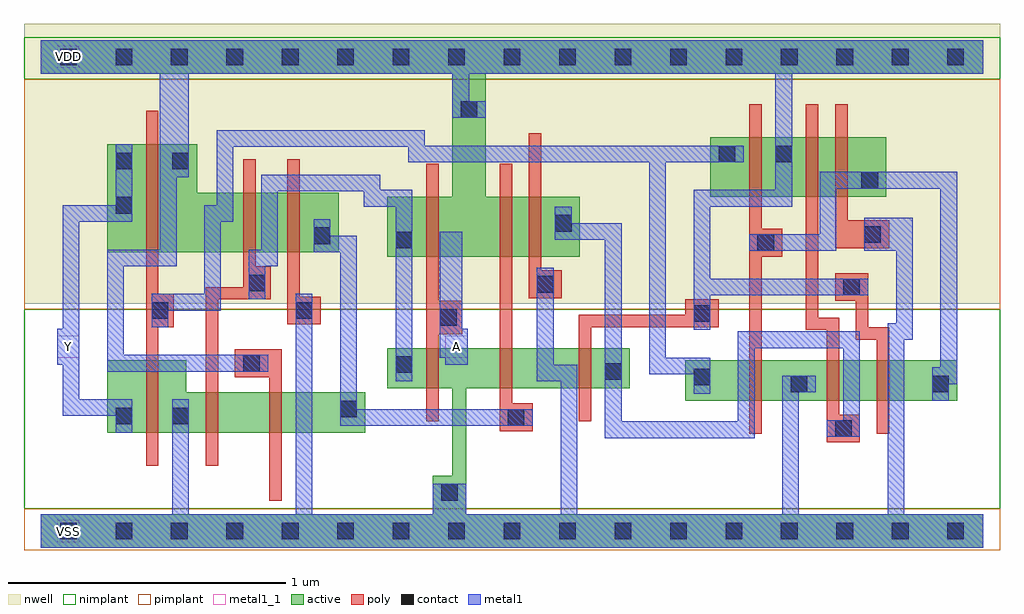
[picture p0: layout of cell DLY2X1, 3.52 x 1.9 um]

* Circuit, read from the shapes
.subckt DLY2X1 A VDD VSS Y
M1 VSS n1 Y VSS nfet w=0.26u l=0.045u
M2 n2 n3 VSS VSS nfet w=0.145u l=0.045u
M3 n4 VDD n2 VSS nfet w=0.145u l=0.045u
M4 VSS A n3 VSS nfet w=0.145u l=0.045u
M5 n5 n4 VSS VSS nfet w=0.145u l=0.045u
M6 n6 VDD n5 VSS nfet w=0.145u l=0.045u
M7 VSS n7 n1 VSS nfet w=0.145u l=0.045u
M8 n8 n6 VSS VSS nfet w=0.145u l=0.045u
M9 n7 VDD n8 VSS nfet w=0.145u l=0.045u
M10 VDD n1 Y VDD pfet w=0.39u l=0.045u
M11 n9 n3 VDD VDD pfet w=0.215u l=0.045u
M12 n4 VSS n9 VDD pfet w=0.215u l=0.045u
M13 VDD A n3 VDD pfet w=0.215u l=0.045u
M14 n10 n4 VDD VDD pfet w=0.215u l=0.045u
M15 n6 VSS n10 VDD pfet w=0.215u l=0.045u
M16 VDD n7 n1 VDD pfet w=0.215u l=0.045u
M17 n11 n6 VDD VDD pfet w=0.215u l=0.045u
M18 n7 VSS n11 VDD pfet w=0.215u l=0.045u
.ends

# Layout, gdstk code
import gdstk
lib = gdstk.Library(unit=1e-6, precision=5e-10)
def R(c, l, rs):  # rectangles x0, y0, x1, y1
    for r in rs: c.add(gdstk.rectangle(r[:2], r[2:], *l))
def A(c, l, x, y, w, h, nx, ny, dx, dy):  # array of equal rectangles
    R(c, l, [(x+i*dx, y+j*dy, x+i*dx+w, y+j*dy+h) for i in range(nx) for j in range(ny)])
def P(c, l, *ps):  # polygons
    for p in ps: c.add(gdstk.Polygon(p, *l))
active = (1, 0)
nwell = (2, 0)
poly = (3, 0)
nimplant = (4, 0)
pimplant = (5, 0)
contact = (6, 0)
metal1 = (7, 0)
metal1_1 = (7, 1)

dly2x1 = lib.new_cell('DLY2X1')
R(dly2x1, active, [(2.325,0.47,3.305,0.615), (2.415,1.205,3.05,1.42)])
P(dly2x1, active, [(0,1.77),(3.4,1.77),(3.4,1.65),(1.605,1.65),(1.605,1.205),(1.945,1.205),(1.945,0.99),(1.25,0.99),(1.25,1.205),(1.485,1.205),(1.485,1.65),(0,1.65)],
  [(0.24,1.395),(0.565,1.395),(0.565,1.22),(1.075,1.22),(1.075,1.005),(0.24,1.005)],
  [(0.24,0.615),(0.525,0.615),(0.525,0.5),(1.17,0.5),(1.17,0.355),(0.24,0.355)],
  [(1.25,0.66),(2.125,0.66),(2.125,0.515),(1.535,0.515),(1.535,0.06),(3.4,0.06),(3.4,-0.06),(0,-0.06),(0,0.06),(1.415,0.06),(1.415,0.2),(1.485,0.2),(1.485,0.515),(1.25,0.515)])
R(dly2x1, nwell, [(-0.06,0.82,3.46,1.83)])
P(dly2x1, poly, [(0.38,1.515),(0.425,1.515),(0.425,0.855),(0.48,0.855),(0.48,0.735),(0.425,0.735),(0.425,0.235),(0.38,0.235)],
  [(0.73,1.34),(0.775,1.34),(0.775,0.955),(0.83,0.955),(0.83,0.835),(0.64,0.835),(0.64,0.235),(0.595,0.235),(0.595,0.88),(0.73,0.88)],
  [(0.89,1.34),(0.935,1.34),(0.935,0.845),(1.01,0.845),(1.01,0.745),(0.89,0.745)],
  [(1.39,1.325),(1.435,1.325),(1.435,0.83),(1.52,0.83),(1.52,0.71),(1.435,0.71),(1.435,0.395),(1.39,0.395)],
  [(2.555,1.54),(2.6,1.54),(2.6,1.09),(2.675,1.09),(2.675,0.99),(2.6,0.99),(2.6,0.35),(2.555,0.35)],
  [(2.76,1.54),(2.805,1.54),(2.805,0.77),(2.88,0.77),(2.88,0.42),(2.955,0.42),(2.955,0.32),(2.835,0.32),(2.835,0.725),(2.76,0.725)],
  [(2.865,1.54),(2.91,1.54),(2.91,1.12),(3.06,1.12),(3.06,1.02),(2.865,1.02)],
  [(1.655,1.325),(1.7,1.325),(1.7,0.46),(1.775,0.46),(1.775,0.36),(1.655,0.36)],
  [(1.76,1.435),(1.805,1.435),(1.805,0.94),(1.88,0.94),(1.88,0.84),(1.76,0.84)],
  [(2.865,0.93),(2.985,0.93),(2.985,0.735),(3.06,0.735),(3.06,0.35),(3.015,0.35),(3.015,0.69),(2.94,0.69),(2.94,0.83),(2.865,0.83)],
  [(2.325,0.835),(2.445,0.835),(2.445,0.735),(1.985,0.735),(1.985,0.395),(1.94,0.395),(1.94,0.78),(2.325,0.78)],
  [(0.7,0.655),(0.87,0.655),(0.87,0.11),(0.825,0.11),(0.825,0.555),(0.7,0.555)])
R(dly2x1, nimplant, [(-0.06,0.08,3.46,0.8), (-0.06,1.63,3.46,1.78)])
R(dly2x1, pimplant, [(-0.06,-0.07,3.46,0.08), (-0.06,0.8,3.46,1.63)])
A(dly2x1, contact, 0.07, -0.03, 0.06, 0.06, 17, 2, 0.2, 1.71)
R(dly2x1, contact, [(1.445,0.11,1.505,0.17), (2.865,0.34,2.925,0.4), (1.685,0.38,1.745,0.44), (0.27,0.385,0.33,0.445), (0.475,0.385,0.535,0.445), (1.08,0.41,1.14,0.47), (2.705,0.5,2.765,0.56), (3.215,0.5,3.275,0.56), (2.355,0.525,2.415,0.585), (2.035,0.545,2.095,0.605), (1.28,0.57,1.34,0.63), (0.73,0.575,0.79,0.635), (1.44,0.74,1.5,0.8), (2.355,0.755,2.415,0.815), (0.4,0.765,0.46,0.825), (0.92,0.765,0.98,0.825), (2.895,0.85,2.955,0.91), (1.79,0.86,1.85,0.92), (0.75,0.865,0.81,0.925), (2.585,1.01,2.645,1.07), (1.28,1.02,1.34,1.08), (0.985,1.035,1.045,1.095), (2.97,1.04,3.03,1.1), (1.855,1.08,1.915,1.14), (0.27,1.145,0.33,1.205), (2.96,1.235,3.02,1.295), (0.27,1.305,0.33,1.365), (0.475,1.305,0.535,1.365), (2.445,1.33,2.505,1.39), (2.65,1.33,2.71,1.39), (1.515,1.49,1.575,1.55)])
P(dly2x1, metal1, [(0,1.77),(3.4,1.77),(3.4,1.65),(2.71,1.65),(2.71,1.17),(2.415,1.17),(2.415,0.91),(2.985,0.91),(2.985,0.85),(2.415,0.85),(2.415,0.725),(2.355,0.725),(2.355,1.23),(2.65,1.23),(2.65,1.65),(1.545,1.65),(1.545,1.55),(1.605,1.55),(1.605,1.49),(1.485,1.49),(1.485,1.65),(0.535,1.65),(0.535,1.275),(0.49,1.275),(0.49,0.955),(0.3,0.955),(0.3,0.635),(0.82,0.635),(0.82,0.575),(0.24,0.575),(0.24,1.015),(0.43,1.015),(0.43,1.65),(0,1.65)],
  [(0.27,1.395),(0.33,1.395),(0.33,1.115),(0.14,1.115),(0.14,0.475),(0.33,0.475),(0.33,0.355),(0.27,0.355),(0.27,0.415),(0.08,0.415),(0.08,0.6),(0.06,0.6),(0.06,0.73),(0.08,0.73),(0.08,1.175),(0.27,1.175)],
  [(0.635,1.445),(1.385,1.445),(1.385,1.39),(2.535,1.39),(2.535,1.33),(2.255,1.33),(2.255,0.625),(2.415,0.625),(2.415,0.495),(2.355,0.495),(2.355,0.565),(2.195,0.565),(2.195,1.33),(1.325,1.33),(1.325,1.385),(0.695,1.385),(0.695,1.115),(0.65,1.115),(0.65,0.795),(0.46,0.795),(0.46,0.735),(0.4,0.735),(0.4,0.855),(0.59,0.855),(0.59,1.175),(0.635,1.175)],
  [(0.795,1.285),(1.225,1.285),(1.225,1.23),(1.34,1.23),(1.34,0.54),(1.28,0.54),(1.28,1.17),(1.165,1.17),(1.165,1.225),(0.855,1.225),(0.855,0.955),(0.81,0.955),(0.81,0.835),(0.75,0.835),(0.75,1.015),(0.795,1.015)],
  [(0.985,1.125),(1.045,1.125),(1.045,1.065),(1.14,1.065),(1.14,0.44),(1.775,0.44),(1.775,0.38),(1.08,0.38),(1.08,1.005),(0.985,1.005)],
  [(2.97,1.13),(3.145,1.13),(3.145,0.69),(3.115,0.69),(3.115,0.06),(3.4,0.06),(3.4,-0.06),(0,-0.06),(0,0.06),(0.475,0.06),(0.475,0.475),(0.535,0.475),(0.535,0.06),(0.92,0.06),(0.92,0.855),(0.98,0.855),(0.98,0.06),(1.415,0.06),(1.415,0.17),(1.535,0.17),(1.535,0.06),(1.875,0.06),(1.875,0.54),(1.79,0.54),(1.79,0.95),(1.85,0.95),(1.85,0.6),(1.935,0.6),(1.935,0.06),(2.675,0.06),(2.675,0.56),(2.795,0.56),(2.795,0.5),(2.735,0.5),(2.735,0.06),(3.055,0.06),(3.055,0.75),(3.085,0.75),(3.085,1.01),(2.97,1.01)],
  [(1.855,1.17),(1.915,1.17),(1.915,1.11),(2.095,1.11),(2.095,0.395),(2.515,0.395),(2.515,0.72),(2.955,0.72),(2.955,0.34),(2.835,0.34),(2.835,0.4),(2.895,0.4),(2.895,0.66),(2.575,0.66),(2.575,0.335),(2.035,0.335),(2.035,1.05),(1.855,1.05)],
  [(1.44,1.08),(1.52,1.08),(1.52,0.73),(1.54,0.73),(1.54,0.6),(1.46,0.6),(1.46,0.625),(1.44,0.625)],
  [(2.81,1.295),(3.305,1.295),(3.305,0.53),(3.275,0.53),(3.275,0.47),(3.215,0.47),(3.215,0.59),(3.245,0.59),(3.245,1.235),(2.87,1.235),(2.87,1.01),(2.555,1.01),(2.555,1.07),(2.81,1.07)])
R(dly2x1, metal1_1, [(0.06,-0.04,0.14,0.04), (0.06,0.625,0.14,0.705), (1.46,0.625,1.54,0.705), (0.06,1.67,0.14,1.75)])
dly2x1.add(gdstk.Label('Y', (0.1,0.665), layer=7, texttype=1))
dly2x1.add(gdstk.Label('A', (1.5,0.665), layer=7, texttype=1))
dly2x1.add(gdstk.Label('VDD', (0.1,1.71), layer=7, texttype=1))
dly2x1.add(gdstk.Label('VSS', (0.1,0), layer=7, texttype=1))
dly2x1.add(gdstk.Label('DLY2X1', (0,0), layer=63, texttype=0))

lib.write_gds('DLY2X1.gds')
